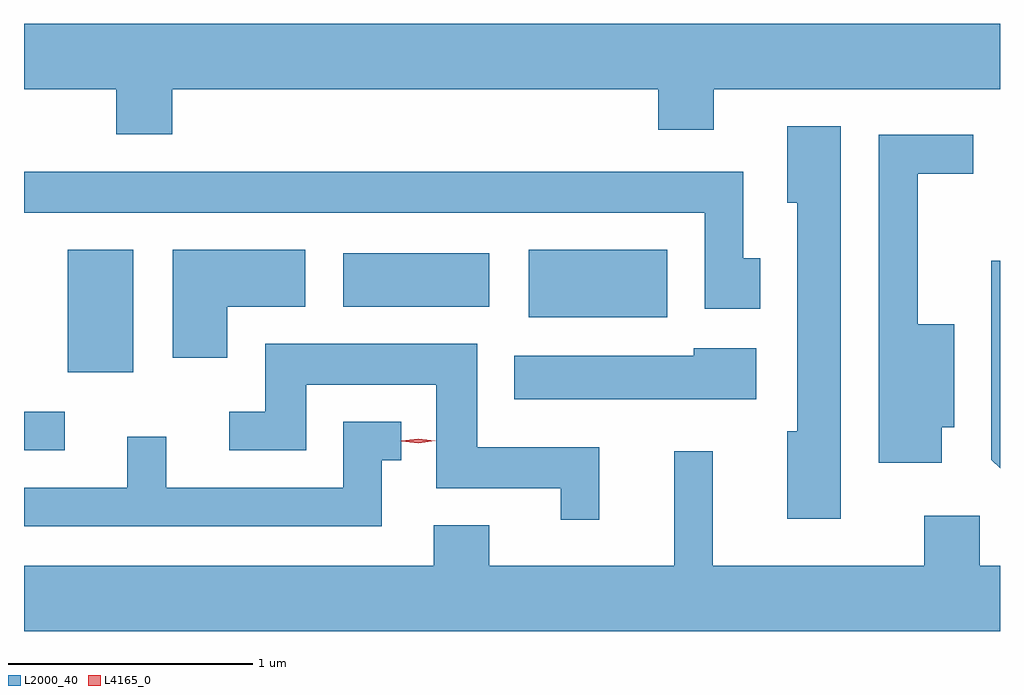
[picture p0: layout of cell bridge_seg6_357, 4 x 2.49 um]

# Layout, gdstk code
import gdstk
lib = gdstk.Library(unit=1e-6, precision=1e-09)
def R(c, l, rs):  # rectangles x0, y0, x1, y1
    for r in rs: c.add(gdstk.rectangle(r[:2], r[2:], *l))
def P(c, l, *ps):  # polygons
    for p in ps: c.add(gdstk.Polygon(p, *l))
L2000_40 = (2000, 40)
L4165_0 = (4165, 0)

bridge_seg6_357 = lib.new_cell('bridge_seg6_357')
R(bridge_seg6_357, L2000_40, [(941.422,1621.816,941.588,1621.974), (941.601,1622.136,941.869,1622.639), (943.491,1622.361,944.059,1622.639), (942.731,1622.406,943.329,1622.624)])
P(bridge_seg6_357, L2000_40, [(941.422,1623.296),(941.801,1623.296),(941.801,1623.111),(942.029,1623.111),(942.029,1623.296),(944.021,1623.296),(944.021,1623.131),(944.249,1623.131),(944.249,1623.296),(945.422,1623.296),(945.422,1623.564),(941.422,1623.564)],
  [(944.769,1623.144),(944.551,1623.144),(944.551,1622.831),(944.591,1622.831),(944.591,1621.894),(944.551,1621.894),(944.551,1621.536),(944.769,1621.536)],
  [(945.184,1621.911),(945.234,1621.911),(945.234,1622.334),(945.084,1622.334),(945.084,1622.951),(945.313,1622.951),(945.313,1623.109),(944.926,1623.109),(944.926,1621.766),(945.184,1621.766)],
  [(944.439,1622.604),(944.369,1622.604),(944.369,1622.959),(941.422,1622.959),(941.422,1622.791),(944.211,1622.791),(944.211,1622.396),(944.439,1622.396)],
  [(942.254,1622.406),(942.574,1622.406),(942.574,1622.639),(942.031,1622.639),(942.031,1622.196),(942.254,1622.196)],
  [(945.422,1622.593),(945.386,1622.593),(945.386,1621.779),(945.422,1621.743)],
  [(943.779,1621.829),(943.279,1621.829),(943.279,1622.254),(942.411,1622.254),(942.411,1621.974),(942.263,1621.974),(942.263,1621.816),(942.579,1621.816),(942.579,1622.086),(943.111,1622.086),(943.111,1621.661),(943.621,1621.661),(943.621,1621.533),(943.779,1621.533)],
  [(944.424,1622.234),(944.166,1622.234),(944.166,1622.204),(943.431,1622.204),(943.431,1622.026),(944.424,1622.026)],
  [(942.889,1621.776),(942.968,1621.776),(942.968,1621.934),(942.731,1621.934),(942.731,1621.664),(942.004,1621.664),(942.004,1621.873),(941.846,1621.873),(941.846,1621.664),(941.422,1621.664),(941.422,1621.506),(942.889,1621.506)],
  [(945.422,1621.344),(945.339,1621.344),(945.339,1621.549),(945.111,1621.549),(945.111,1621.344),(944.244,1621.344),(944.244,1621.813),(944.086,1621.813),(944.086,1621.344),(943.329,1621.344),(943.329,1621.509),(943.101,1621.509),(943.101,1621.344),(941.422,1621.344),(941.422,1621.076),(945.422,1621.076)])
P(bridge_seg6_357, L4165_0, [(943.038,1621.846),(942.969,1621.854),(942.969,1621.855),(942.969,1621.856),(943.038,1621.865),(943.108,1621.856),(943.108,1621.856),(943.108,1621.855)])

lib.write_gds('bridge_seg6_357.gds')
